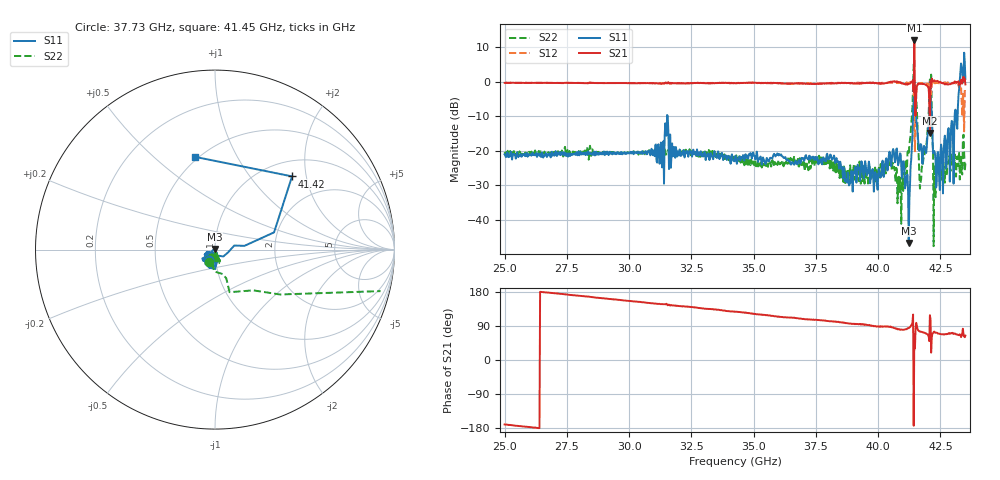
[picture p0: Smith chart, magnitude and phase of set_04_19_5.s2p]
!Keysight Technologies,N5224A,MY55441802,A.10.65.16
!Date: Tuesday, March 03, 2026 17:07:29
!Correction: S11(Full 2 Port(1,2))
!S21(Full 2 Port(1,2))
!S12(Full 2 Port(1,2))
!S22(Full 2 Port(1,2))
!S2P File: Measurements: S11, S21, S12, S22:
# Hz S  dB  R 50
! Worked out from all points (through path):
!   741 points, 25 GHz to 43.5 GHz, reference 50 ohm
!   highest |S21| = 11.84 dB at 41.45 GHz (marker M1); lowest = -14.9 dB at 42.08 GHz (marker M2)
!   lowest |S11| = -46.6 dB at 41.23 GHz (marker M3), VSWR 1.01, Z = 49.7 + j0.378 ohm
!   |S11| at or under -10 dB: start of sweep to 31.52 GHz; 31.55 GHz to 41.4 GHz (9.849 GHz wide, 27 % of centre); 42.15 GHz to 43.07 GHz (916.9 MHz wide, 2.15 % of centre)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
!   |S22| runs from -47.5 to 6.2 dB; largest |S21 - S12| = 3.8
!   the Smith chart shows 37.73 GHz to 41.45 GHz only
!   S11 on the Smith chart (normalised r, x): 37.73 GHz: 0.93, -0.11; 41.42 GHz: 1.32, +1.66; 41.45 GHz: 0.48, +0.69
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2.5e10  -21.03 -84.9  -0.39 -170.1  -0.39 -170.2  -20.44 -90.7
2.81e10  -21.09 -99.7  -0.45 168.5  -0.42 168.5  -20.53 -103.6
3.1175e10  -18.11 -109.1  -0.59 147.9  -0.48 148.1  -19.44 -115.6
3.15e10  -15.63 102.1  -0.51 148.3  -0.10 147.5  -20.69 -107.2
3.175e10  -21.60 -93.8  -0.42 143.9  -0.53 144.1  -21.12 -113.0
3.425e10  -22.07 -130.5  -0.44 127.1  -0.37 127.1  -22.92 -130.2
3.735e10  -22.13 -104.5  -0.67 106.5  -0.61 105.9  -24.04 -108.1
3.7725e10  -23.47 -121.0  -0.60 104.8  -0.60 104.7  -22.55 -116.0
4.0425e10  -21.46 -131.3  -0.27 88.5  -0.25 85.6  -23.34 -67.9
4.085e10  -22.12 -108.3  -0.30 80.3  -0.37 82.6  -32.11 -92.6
4.1225e10  -46.58 125.8  -0.71 84.0  -0.38 82.0  -21.05 -97.2
4.1425e10  -4.55 43.5  -3.01 -173.3  -3.98 146.4  5.18 38.4
4.145e10  -5.54 102.2  11.84 67.4  -14.98 33.5  6.16 -100.4
4.1525e10  -10.64 -4.9  -3.38 98.2  -3.40 103.6  -4.48 68.8
4.155e10  -12.64 -48.1  -1.47 90.9  -1.48 94.7  -7.60 57.5
4.1725e10  -18.21 -81.4  -0.68 74.7  -0.49 75.5  -28.14 -53.8
4.2075e10  -5.84 -143.0  -14.85 118.1  -9.43 43.7  0.58 -68.4
4.23e10  -22.64 -53.5  0.09 71.7  -0.46 71.1  -33.39 -64.1
4.295e10  -11.38 -86.8  -0.58 70.6  -0.42 62.4  -21.78 -73.2
4.3225e10  -3.83 -87.8  0.08 65.6  -1.20 52.1  -24.44 -71.8
4.34e10  -0.29 -80.8  0.77 82.5  -3.42 94.3  -16.56 28.8
4.35e10  0.72 -56.2  -0.83 64.5  -2.61 50.8  -23.67 -60.8
